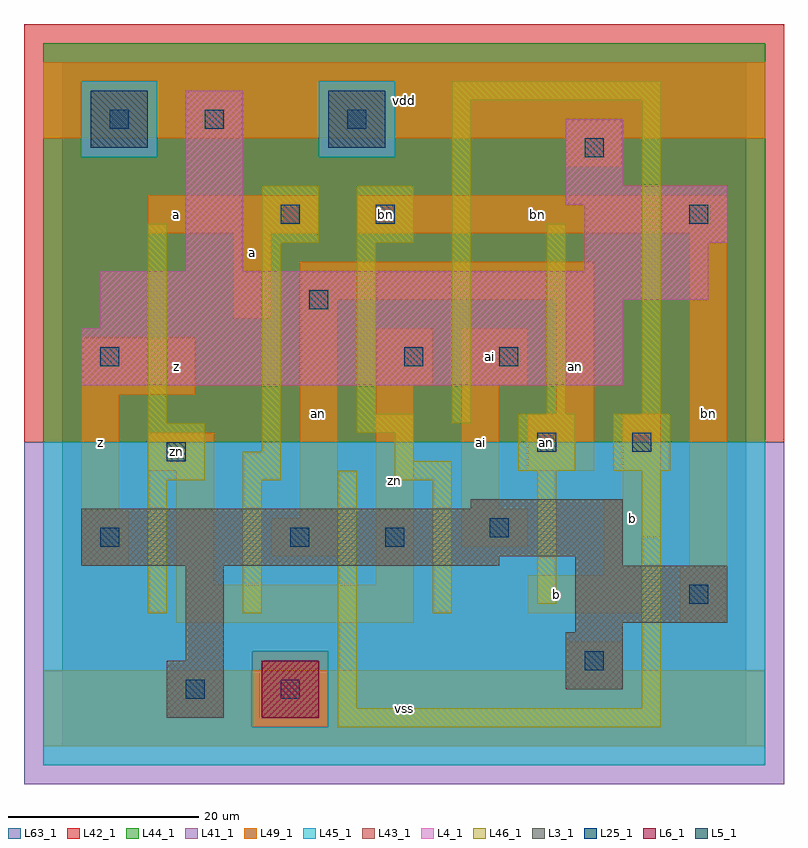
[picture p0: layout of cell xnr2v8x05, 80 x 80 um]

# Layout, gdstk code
import gdstk
lib = gdstk.Library(unit=1e-6, precision=1e-09)
def R(c, l, rs):  # rectangles x0, y0, x1, y1
    for r in rs: c.add(gdstk.rectangle(r[:2], r[2:], *l))
L3_1 = (3, 1)
L4_1 = (4, 1)
L5_1 = (5, 1)
L6_1 = (6, 1)
L25_1 = (25, 1)
L41_1 = (41, 1)
L42_1 = (42, 1)
L43_1 = (43, 1)
L44_1 = (44, 1)
L45_1 = (45, 1)
L46_1 = (46, 1)
L49_1 = (49, 1)
L63_1 = (63, 1)

xnr2v8x05 = lib.new_cell('xnr2v8x05')
R(xnr2v8x05, L3_1, [(11,3,17,9), (53,6,59,12), (13,9,17,19), (54,12,59,13), (54,13,70,19), (2,19,46,20), (54,19,59,20), (2,20,59,25), (43,25,59,26)])
R(xnr2v8x05, L4_1, [(2,38,59,44), (4,44,59,47), (4,47,68,50), (13,50,19,69), (55,50,68,53), (55,53,70,57), (53,57,70,59), (53,59,59,66)])
R(xnr2v8x05, L5_1, [(3,63,9,69), (28,63,34,69)])
R(xnr2v8x05, L6_1, [(21,3,27,9), (21,3,27,9)])
R(xnr2v8x05, L25_1, [(13,5,15,7), (23,5,25,7), (55,8,57,10), (66,15,68,17), (4,21,6,23), (24,21,26,23), (34,21,36,23), (45,22,47,24), (11,30,13,32), (50,31,52,33), (60,31,62,33), (4,40,6,42), (36,40,38,42), (46,40,48,42), (26,46,28,48), (23,55,25,57), (33,55,35,57), (66,55,68,57), (55,62,57,64), (5,65,7,67), (15,65,17,67), (30,65,32,67)])
R(xnr2v8x05, L41_1, [(-4,-4,76,32)])
R(xnr2v8x05, L42_1, [(-4,32,76,76)])
R(xnr2v8x05, L43_1, [(11,3,17,9), (21,3,27,9), (53,6,59,12), (13,9,17,19), (54,12,59,13), (54,13,70,19), (2,19,46,20), (54,19,59,20), (2,20,59,25), (43,25,59,26), (2,38,59,44), (4,44,59,47), (4,47,68,50), (13,50,19,69), (55,50,68,53), (55,53,70,57), (53,57,70,59), (53,59,59,66), (3,63,9,69), (28,63,34,69)])
R(xnr2v8x05, L44_1, [(20,2,28,10), (-2,32,74,62), (-2,62,2,70), (10,62,27,70), (35,62,74,70), (-2,70,74,74)])
R(xnr2v8x05, L45_1, [(-2,-2,74,2), (-2,2,20,10), (28,2,74,10), (-2,10,74,32), (2,62,10,70), (27,62,35,70)])
R(xnr2v8x05, L46_1, [(29,2,63,4), (29,4,31,29), (61,4,63,29), (9,14,11,28), (19,14,21,28), (39,14,41,28), (50,15,52,29), (9,28,15,34), (19,28,23,31), (35,28,41,30), (48,29,54,35), (58,29,64,35), (35,30,37,33), (21,31,23,53), (31,33,37,35), (9,34,11,55), (41,34,43,68), (31,35,33,53), (51,35,53,55), (61,35,63,68), (21,53,27,59), (31,53,37,59), (41,68,63,70)])
R(xnr2v8x05, L49_1, [(-2,0,74,8), (53,8,59,11), (12,13,37,17), (65,13,70,19), (49,14,61,18), (12,17,16,29), (33,17,37,38), (57,18,61,22), (2,19,7,25), (66,19,70,54), (22,20,29,24), (42,21,49,25), (57,22,63,26), (25,24,29,47), (2,25,6,37), (42,25,46,38), (59,26,63,35), (9,29,16,33), (49,29,56,35), (52,35,56,47), (2,37,14,43), (33,38,39,44), (42,38,49,44), (18,45,22,54), (25,47,56,51), (9,54,27,58), (31,54,70,58), (53,61,59,64), (-2,64,74,72)])
R(xnr2v8x05, L63_1, [(0,0,72,72)])
xnr2v8x05.add(gdstk.Label('zn', (12,31), layer=49, texttype=1))
xnr2v8x05.add(gdstk.Label('bn', (34,56), layer=49, texttype=1))
xnr2v8x05.add(gdstk.Label('an', (51,32), layer=49, texttype=1))
xnr2v8x05.add(gdstk.Label('zn', (12,31), layer=49, texttype=1))
xnr2v8x05.add(gdstk.Label('z', (4,32), layer=49, texttype=1))
xnr2v8x05.add(gdstk.Label('z', (12,40), layer=49, texttype=1))
xnr2v8x05.add(gdstk.Label('a', (12,56), layer=49, texttype=1))
xnr2v8x05.add(gdstk.Label('an', (27,35), layer=49, texttype=1))
xnr2v8x05.add(gdstk.Label('a', (20,52), layer=49, texttype=1))
xnr2v8x05.add(gdstk.Label('vss', (36,4), layer=49, texttype=1))
xnr2v8x05.add(gdstk.Label('b', (52,16), layer=49, texttype=1))
xnr2v8x05.add(gdstk.Label('ai', (45,41), layer=49, texttype=1))
xnr2v8x05.add(gdstk.Label('ai', (44,32), layer=49, texttype=1))
xnr2v8x05.add(gdstk.Label('zn', (35,28), layer=49, texttype=1))
xnr2v8x05.add(gdstk.Label('vdd', (36,68), layer=49, texttype=1))
xnr2v8x05.add(gdstk.Label('b', (60,24), layer=49, texttype=1))
xnr2v8x05.add(gdstk.Label('an', (54,40), layer=49, texttype=1))
xnr2v8x05.add(gdstk.Label('bn', (50,56), layer=49, texttype=1))
xnr2v8x05.add(gdstk.Label('bn', (68,35), layer=49, texttype=1))

lib.write_gds('xnr2v8x05.gds')
